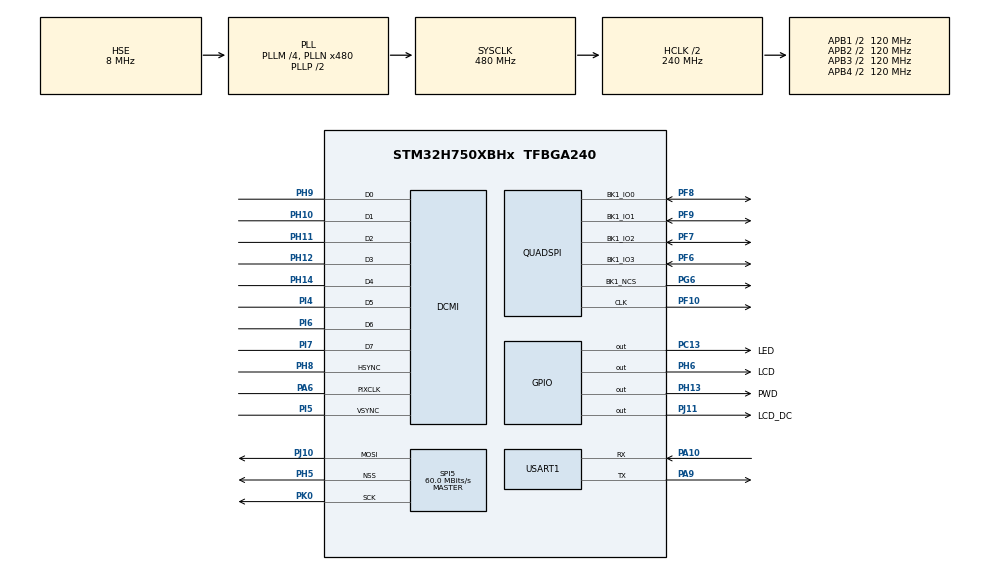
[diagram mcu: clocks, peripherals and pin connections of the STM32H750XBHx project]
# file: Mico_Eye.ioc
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CORTEX_M7.AccessPermission-Cortex_Memory_Protection_Unit_Region0_Settings=MPU_REGION_FULL_ACCESS
CORTEX_M7.AccessPermission-Cortex_Memory_Protection_Unit_Region1_Settings=MPU_REGION_FULL_ACCESS
CORTEX_M7.BaseAddress-Cortex_Memory_Protection_Unit_Region0_Settings=0x24000000
CORTEX_M7.BaseAddress-Cortex_Memory_Protection_Unit_Region1_Settings=0x90000000
CORTEX_M7.CPU_DCache=Enabled
CORTEX_M7.CPU_ICache=Enabled
CORTEX_M7.Enable-Cortex_Memory_Protection_Unit_Region0_Settings=MPU_REGION_ENABLE
CORTEX_M7.Enable-Cortex_Memory_Protection_Unit_Region1_Settings=MPU_REGION_ENABLE
CORTEX_M7.Enable-Cortex_Memory_Protection_Unit_Region2_Settings=__NULL
CORTEX_M7.IsBufferable-Cortex_Memory_Protection_Unit_Region0_Settings=MPU_ACCESS_BUFFERABLE
CORTEX_M7.IsCacheable-Cortex_Memory_Protection_Unit_Region0_Settings=MPU_ACCESS_CACHEABLE
CORTEX_M7.IsShareable-Cortex_Memory_Protection_Unit_Region0_Settings=MPU_ACCESS_SHAREABLE
CORTEX_M7.MPU_Control=MPU_PRIVILEGED_DEFAULT
CORTEX_M7.Size-Cortex_Memory_Protection_Unit_Region0_Settings=MPU_REGION_SIZE_512KB
CORTEX_M7.Size-Cortex_Memory_Protection_Unit_Region1_Settings=MPU_REGION_SIZE_8MB
DCMI.JPEGMode=DCMI_JPEG_DISABLE
DCMI.PCKPolarity=DCMI_PCKPOLARITY_RISING
Dma.DCMI.0.Direction=DMA_PERIPH_TO_MEMORY
Dma.DCMI.0.EventEnable=DISABLE
Dma.DCMI.0.FIFOMode=DMA_FIFOMODE_ENABLE
Dma.DCMI.0.FIFOThreshold=DMA_FIFO_THRESHOLD_FULL
Dma.DCMI.0.Instance=DMA2_Stream7
Dma.DCMI.0.MemBurst=DMA_MBURST_SINGLE
Dma.DCMI.0.MemDataAlignment=DMA_MDATAALIGN_WORD
Dma.DCMI.0.MemInc=DMA_MINC_DISABLE
Dma.DCMI.0.Mode=DMA_CIRCULAR
Dma.DCMI.0.PeriphBurst=DMA_PBURST_SINGLE
Dma.DCMI.0.PeriphDataAlignment=DMA_PDATAALIGN_WORD
Dma.DCMI.0.PeriphInc=DMA_PINC_DISABLE
Dma.DCMI.0.Polarity=HAL_DMAMUX_REQ_GEN_RISING
Dma.DCMI.0.Priority=DMA_PRIORITY_LOW
Dma.DCMI.0.RequestNumber=1
Dma.DCMI.0.SignalID=NONE
Dma.DCMI.0.SyncEnable=DISABLE
Dma.DCMI.0.SyncPolarity=HAL_DMAMUX_SYNC_NO_EVENT
Dma.DCMI.0.SyncRequestNumber=1
Dma.DCMI.0.SyncSignalID=NONE
Dma.Request0=DCMI
Mcu.Family=STM32H7
Mcu.Name=STM32H750XBHx
Mcu.Package=TFBGA240
NVIC.DCMI_IRQn=true\:0\:0\:true\:false\:true\:true\:true\:true
NVIC.DMA2_Stream7_IRQn=true\:0\:0\:false\:false\:true\:false\:true\:true
NVIC.FPU_IRQn=true\:0\:0\:true\:false\:true\:true\:false\:true
NVIC.PriorityGroup=NVIC_PRIORITYGROUP_4
PA10.Mode=Asynchronous
PA10.Signal=USART1_RX
PA13\ (JTMS/SWDIO).Mode=Serial_Wire
PA13\ (JTMS/SWDIO).Signal=DEBUG_JTMS-SWDIO
PA14\ (JTCK/SWCLK).Mode=Serial_Wire
PA14\ (JTCK/SWCLK).Signal=DEBUG_JTCK-SWCLK
PA6.GPIO_Speed=GPIO_SPEED_FREQ_VERY_HIGH
PA6.Mode=Slave_8_bits_External_Synchro
PA6.Signal=DCMI_PIXCLK
PA9.Mode=Asynchronous
PA9.Signal=USART1_TX
PC13.GPIO_Label=LED
PC13.GPIO_PuPd=GPIO_NOPULL
PC13.PinState=GPIO_PIN_RESET
PC13.Signal=GPIO_Output
PC14-OSC32_IN\ (OSC32_IN).Mode=LSE-External-Oscillator
PC14-OSC32_IN\ (OSC32_IN).Signal=RCC_OSC32_IN
PC15-OSC32_OUT\ (OSC32_OUT).Mode=LSE-External-Oscillator
PC15-OSC32_OUT\ (OSC32_OUT).Signal=RCC_OSC32_OUT
PF10.Mode=Single Bank 1
PF10.Signal=QUADSPI_CLK
PF6.Mode=Single Bank 1
PF6.Signal=QUADSPI_BK1_IO3
PF7.Mode=Single Bank 1
PF7.Signal=QUADSPI_BK1_IO2
PF8.Mode=Single Bank 1
PF8.Signal=QUADSPI_BK1_IO0
PF9.Mode=Single Bank 1
PF9.Signal=QUADSPI_BK1_IO1
PG6.Mode=Single Bank 1
PG6.Signal=QUADSPI_BK1_NCS
PH0-OSC_IN\ (PH0).Mode=HSE-External-Oscillator
PH0-OSC_IN\ (PH0).Signal=RCC_OSC_IN
PH1-OSC_OUT\ (PH1).Mode=HSE-External-Oscillator
PH1-OSC_OUT\ (PH1).Signal=RCC_OSC_OUT
PH10.GPIO_Speed=GPIO_SPEED_FREQ_VERY_HIGH
PH10.Mode=Slave_8_bits_External_Synchro
PH10.Signal=DCMI_D1
PH11.GPIO_Speed=GPIO_SPEED_FREQ_VERY_HIGH
PH11.Mode=Slave_8_bits_External_Synchro
PH11.Signal=DCMI_D2
PH12.GPIO_Speed=GPIO_SPEED_FREQ_VERY_HIGH
PH12.Mode=Slave_8_bits_External_Synchro
PH12.Signal=DCMI_D3
PH13.GPIO_Label=PWD
PH13.PinState=GPIO_PIN_SET
PH13.Signal=GPIO_Output
PH14.GPIO_Speed=GPIO_SPEED_FREQ_VERY_HIGH
PH14.Mode=Slave_8_bits_External_Synchro
PH14.Signal=DCMI_D4
PH5.Mode=NSS_Signal_Hard_Output
PH5.Signal=SPI5_NSS
PH6.GPIO_Label=LCD
PH6.PinState=GPIO_PIN_SET
PH6.Signal=GPIO_Output
PH8.GPIO_Speed=GPIO_SPEED_FREQ_VERY_HIGH
PH8.Mode=Slave_8_bits_External_Synchro
PH8.Signal=DCMI_HSYNC
PH9.GPIO_Speed=GPIO_SPEED_FREQ_VERY_HIGH
PH9.Mode=Slave_8_bits_External_Synchro
PH9.Signal=DCMI_D0
PI4.GPIO_Speed=GPIO_SPEED_FREQ_VERY_HIGH
PI4.Mode=Slave_8_bits_External_Synchro
PI4.Signal=DCMI_D5
PI5.GPIO_Speed=GPIO_SPEED_FREQ_VERY_HIGH
PI5.Mode=Slave_8_bits_External_Synchro
PI5.Signal=DCMI_VSYNC
PI6.GPIO_Speed=GPIO_SPEED_FREQ_VERY_HIGH
PI6.Mode=Slave_8_bits_External_Synchro
PI6.Signal=DCMI_D6
PI7.GPIO_Speed=GPIO_SPEED_FREQ_VERY_HIGH
PI7.Mode=Slave_8_bits_External_Synchro
PI7.Signal=DCMI_D7
PJ10.Mode=TX_Only_Simplex_Unidirect_Master
PJ10.Signal=SPI5_MOSI
PJ11.GPIO_Label=LCD_DC
PJ11.Signal=GPIO_Output
PK0.Mode=TX_Only_Simplex_Unidirect_Master
PK0.Signal=SPI5_SCK
ProjectManager.HeapSize=0x3000
ProjectManager.StackSize=0x2000
ProjectManager.TargetToolchain=STM32CubeIDE
QUADSPI.ClockMode=QSPI_CLOCK_MODE_3
QUADSPI.ClockPrescaler=1
QUADSPI.FifoThreshold=32
QUADSPI.FlashSize=22
QUADSPI.SampleShifting=QSPI_SAMPLE_SHIFTING_HALFCYCLE
RCC.ADCFreq_Value=16125000
RCC.APB1CLKDivider=RCC_HCLK_DIV4
RCC.APB1Freq_Value=120000000
RCC.APB2CLKDivider=RCC_HCLK_DIV2
RCC.APB2Freq_Value=120000000
RCC.APB3Freq_Value=120000000
RCC.APB4Freq_Value=120000000
RCC.CortexFreq_Value=480000000
RCC.D1PPRE=RCC_APB3_DIV2
RCC.D2PPRE1=RCC_APB1_DIV2
RCC.D2PPRE2=RCC_APB2_DIV2
RCC.D3PPRE=RCC_APB4_DIV2
RCC.DIVM1=4
RCC.DIVN1=480
RCC.DIVQ1=20
RCC.HCLKFreq_Value=240000000
RCC.HPRE=RCC_HCLK_DIV2
RCC.HSE_VALUE=8000000
RCC.PLLM=25
RCC.PLLMUL=RCC_PLL_MUL9
RCC.PLLN=432
RCC.PLLQ=9
RCC.PLLSourceVirtual=RCC_PLLSOURCE_HSE
RCC.PRESCALERUSB=RCC_USBCLKSOURCE_PLL_DIV1_5
RCC.PWR_Regulator_Voltage_Scale=PWR_REGULATOR_VOLTAGE_SCALE0
RCC.SYSCLKFreq_VALUE=480000000
RCC.SYSCLKSource=RCC_SYSCLKSOURCE_PLLCLK
RCC.SYSCLKSourceVirtual=RCC_SYSCLKSOURCE_PLLCLK
RCC.USBFreq_Value=48000000
SPI5.BaudRatePrescaler=SPI_BAUDRATEPRESCALER_2
SPI5.CalculateBaudRate=60.0 MBits/s
SPI5.DataSize=SPI_DATASIZE_8BIT
SPI5.Direction=SPI_DIRECTION_2LINES_TXONLY
SPI5.FifoThreshold=SPI_FIFO_THRESHOLD_02DATA
SPI5.Mode=SPI_MODE_MASTER
SPI5.VirtualNSS=VM_NSSHARD
SPI5.VirtualType=VM_MASTER
STMicroelectronics.X-CUBE-AI.7.2.0.ActivationBufferSizeList=267176
STMicroelectronics.X-CUBE-AI.7.2.0.ActivationBuffers=pool0
STMicroelectronics.X-CUBE-AI.7.2.0.ActivationNames=pool0
STMicroelectronics.X-CUBE-AI.7.2.0.ActivationSizes=AI_NETWORK_DATA_ACTIVATION_1_SIZE
STMicroelectronics.X-CUBE-AI.7.2.0.HeapSize=0x3000
STMicroelectronics.X-CUBE-AI.7.2.0.InternalRamActivationBufferMaxSize=AI_NETWORK_DATA_ACTIVATIONS_SIZE
STMicroelectronics.X-CUBE-AI.7.2.0.LatestDirectoryUsed-85ada85f3a31656e679e2d2ea5e9894090850ae9bb18ecbe06c34f5db485fe95=C\:\\Users\\10633\\Desktop\\Mywork\\Mico-eye\\2.model
STMicroelectronics.X-CUBE-AI.7.2.0.MaximumNumberOfInputLayer=1
STMicroelectronics.X-CUBE-AI.7.2.0.MaximumNumberOfOutputLayer=1
STMicroelectronics.X-CUBE-AI.7.2.0.MaximumSizeOfInputLayer=1
STMicroelectronics.X-CUBE-AI.7.2.0.MaximumSizeOfOutputLayer=1
STMicroelectronics.X-CUBE-AI.7.2.0.ModelActualCompression-85ada85f3a31656e679e2d2ea5e9894090850ae9bb18ecbe06c34f5db485fe95=0.0
STMicroelectronics.X-CUBE-AI.7.2.0.ModelCompression-85ada85f3a31656e679e2d2ea5e9894090850ae9bb18ecbe06c34f5db485fe95=None
STMicroelectronics.X-CUBE-AI.7.2.0.ModelFlashOccupation-85ada85f3a31656e679e2d2ea5e9894090850ae9bb18ecbe06c34f5db485fe95=554884
STMicroelectronics.X-CUBE-AI.7.2.0.ModelHashList=85ada85f3a31656e679e2d2ea5e9894090850ae9bb18ecbe06c34f5db485fe95
STMicroelectronics.X-CUBE-AI.7.2.0.ModelKind-85ada85f3a31656e679e2d2ea5e9894090850ae9bb18ecbe06c34f5db485fe95=TFLITE
STMicroelectronics.X-CUBE-AI.7.2.0.ModelMacc-85ada85f3a31656e679e2d2ea5e9894090850ae9bb18ecbe06c34f5db485fe95=19095976
STMicroelectronics.X-CUBE-AI.7.2.0.ModelName-85ada85f3a31656e679e2d2ea5e9894090850ae9bb18ecbe06c34f5db485fe95=network
STMicroelectronics.X-CUBE-AI.7.2.0.ModelNameList=network
STMicroelectronics.X-CUBE-AI.7.2.0.ModelRamOccupation-85ada85f3a31656e679e2d2ea5e9894090850ae9bb18ecbe06c34f5db485fe95=267176
STMicroelectronics.X-CUBE-AI.7.2.0.ModelStructureFile-85ada85f3a31656e679e2d2ea5e9894090850ae9bb18ecbe06c34f5db485fe95=C\:\\Users\\10633\\Desktop\\Mywork\\Mico-eye\\2.model\\mobv2_128x128x3_adam02_respin01.best_val.035.h5.uint8.tflite
STMicroelectronics.X-CUBE-AI.7.2.0.ModelType-85ada85f3a31656e679e2d2ea5e9894090850ae9bb18ecbe06c34f5db485fe95=STM32Cube.AI runtime
STMicroelectronics.X-CUBE-AI.7.2.0.ReadyForCodeGeneration=true
STMicroelectronics.X-CUBE-AI.7.2.0.StackSize=0x2000
STMicroelectronics.X-CUBE-AI.7.2.0.WorkingBufferStartAddrList=0xFFFFFFFF
STMicroelectronics.X-CUBE-AI.7.2.0.XAaCUBEAaAICcArtificialOoIntelligenceJjCore=true
STMicroelectronics.X-CUBE-AI.7.2.0.copyWeightToRam-85ada85f3a31656e679e2d2ea5e9894090850ae9bb18ecbe06c34f5db485fe95=false
STMicroelectronics.X-CUBE-AI.7.2.0.customLayerConfigEnabled-85ada85f3a31656e679e2d2ea5e9894090850ae9bb18ecbe06c34f5db485fe95=false
STMicroelectronics.X-CUBE-AI.7.2.0.extFlashDriver-85ada85f3a31656e679e2d2ea5e9894090850ae9bb18ecbe06c34f5db485fe95=Custom
STMicroelectronics.X-CUBE-AI.7.2.0.extFlashSize-85ada85f3a31656e679e2d2ea5e9894090850ae9bb18ecbe06c34f5db485fe95=8
STMicroelectronics.X-CUBE-AI.7.2.0.extFlashStartAddr-85ada85f3a31656e679e2d2ea5e9894090850ae9bb18ecbe06c34f5db485fe95=0x90000000
STMicroelectronics.X-CUBE-AI.7.2.0.memoryPool0driver-85ada85f3a31656e679e2d2ea5e9894090850ae9bb18ecbe06c34f5db485fe95=Custom
STMicroelectronics.X-CUBE-AI.7.2.0.memoryPool0id-85ada85f3a31656e679e2d2ea5e9894090850ae9bb18ecbe06c34f5db485fe95=0
STMicroelectronics.X-CUBE-AI.7.2.0.memoryPool0max-85ada85f3a31656e679e2d2ea5e9894090850ae9bb18ecbe06c34f5db485fe95=2147483647
STMicroelectronics.X-CUBE-AI.7.2.0.memoryPool0name-85ada85f3a31656e679e2d2ea5e9894090850ae9bb18ecbe06c34f5db485fe95=pool1
STMicroelectronics.X-CUBE-AI.7.2.0.memoryPool0size-85ada85f3a31656e679e2d2ea5e9894090850ae9bb18ecbe06c34f5db485fe95=8000
STMicroelectronics.X-CUBE-AI.7.2.0.memoryPool0start-85ada85f3a31656e679e2d2ea5e9894090850ae9bb18ecbe06c34f5db485fe95=0x90000000
STMicroelectronics.X-CUBE-AI.7.2.0.memoryPool0used-85ada85f3a31656e679e2d2ea5e9894090850ae9bb18ecbe06c34f5db485fe95=0.0
STMicroelectronics.X-CUBE-AI.7.2.0.splitWeigths-85ada85f3a31656e679e2d2ea5e9894090850ae9bb18ecbe06c34f5db485fe95=true
STMicroelectronics.X-CUBE-AI.7.2.0.tensorsInExternalFlash-85ada85f3a31656e679e2d2ea5e9894090850ae9bb18ecbe06c34f5db485fe95=conv2d_2_weights,conv2d_2_bias,conv2d_3_weights,conv2d_3_bias,conv2d_4_weights,conv2d_4_bias,conv2d_5_weights,conv2d_5_bias,conv2d_7_weights,conv2d_7_bias,conv2d_8_weights,conv2d_8_bias,conv2d_9_weights,conv2d_9_bias,conv2d_10_weights,conv2d_10_bias,conv2d_11_weights,conv2d_11_bias,conv2d_13_weights,conv2d_13_bias,conv2d_15_weights,conv2d_15_bias,conv2d_16_weights,conv2d_16_bias,conv2d_17_weights,conv2d_17_bias,conv2d_18_weights,conv2d_18_bias,conv2d_19_weights,conv2d_19_bias,conv2d_21_weights,conv2d_21_bias,conv2d_22_weights,conv2d_22_bias,conv2d_23_weights,conv2d_23_bias,conv2d_25_weights,conv2d_25_bias,conv2d_27_weights,conv2d_27_bias,conv2d_28_weights,conv2d_28_bias,conv2d_29_weights,conv2d_29_bias,conv2d_30_weights,conv2d_30_bias,conv2d_31_weights,conv2d_31_bias,conv2d_33_weights,conv2d_33_bias,conv2d_34_weights,conv2d_34_bias,conv2d_35_weights,conv2d_35_bias,conv2d_37_weights,conv2d_37_bias,conv2d_38_weights,conv2d_38_bias,conv2d_39_weights,conv2d_39_bias,conv2d_41_weights,conv2d_41_bias,conv2d_42_weights,conv2d_42_bias,conv2d_43_weights,conv2d_43_bias,conv2d_44_weights,conv2d_44_bias,conv2d_45_weights,conv2d_45_bias,conv2d_46_weights,conv2d_46_bias,conv2d_48_weights,conv2d_48_bias,conv2d_49_weights,conv2d_49_bias,conv2d_50_weights,conv2d_50_bias,conv2d_52_weights,conv2d_52_bias,conv2d_54_weights,conv2d_54_bias,conv2d_55_weights,conv2d_55_bias,conv2d_56_weights,conv2d_56_bias,conv2d_57_weights,conv2d_57_bias,conv2d_58_weights,conv2d_58_bias,conv2d_60_weights,conv2d_60_bias,conv2d_61_weights,conv2d_61_bias,conv2d_62_weights,conv2d_62_bias,conv2d_64_weights,conv2d_64_bias,conv2d_65_weights,conv2d_65_bias,conv2d_66_weights,conv2d_66_bias,conv2d_67_weights,conv2d_67_bias,dense_69_weights,dense_69_bias
STMicroelectronics.X-CUBE-AI.7.2.0.useExternalFlash-85ada85f3a31656e679e2d2ea5e9894090850ae9bb18ecbe06c34f5db485fe95=true
STMicroelectronics.X-CUBE-AI.7.2.0.useInputAllocation-85ada85f3a31656e679e2d2ea5e9894090850ae9bb18ecbe06c34f5db485fe95=true
STMicroelectronics.X-CUBE-AI.7.2.0.useOutputAllocation-85ada85f3a31656e679e2d2ea5e9894090850ae9bb18ecbe06c34f5db485fe95=true
USART1.VirtualMode-Asynchronous=VM_ASYNC
VP_CRC_VS_CRC.Mode=CRC_Activate
VP_STMicroelectronics.X-CUBE-AI_VS_ArtificialOoIntelligenceJjXAaCUBEAaAI_7.2.0.Mode=ArtificialOoIntelligenceJjXAaCUBEAaAI
board=custom

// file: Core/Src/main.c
/* USER CODE BEGIN Header */
/**
  ******************************************************************************
  * @file           : main.c
  * @brief          : Main program body
  ******************************************************************************
  * @attention
  *
  * Copyright (c) 2022 STMicroelectronics.
  * All rights reserved.
  *
  * This software is licensed under terms that can be found in the LICENSE file
  * in the root directory of this software component.
  * If no LICENSE file comes with this software, it is provided AS-IS.
  *
  ******************************************************************************
  */
/* USER CODE END Header */
#include "main.h"
#include "crc.h"
#include "dcmi.h"
#include "dma.h"
#include "quadspi.h"
#include "spi.h"
#include "usart.h"
#include "gpio.h"

/* USER CODE BEGIN Includes */
#include "lcd_spi_169.h"
#include <stdio.h>
#include "ai_datatypes_defines.h"
#include "ai_platform.h"
#include "network.h"
#include "network_data.h"
/* USER CODE END Includes */

/* USER CODE BEGIN PD */
#define Camera_Buffer    0x24000000
/* USER CODE END PD */

void SystemClock_Config(void);
static void MPU_Config(void);

int main(void)
{
  /* USER CODE BEGIN 1 */
	ai_i8 *im=0;
	ai_network_params ai_params = {
	    AI_NETWORK_DATA_WEIGHTS(ai_network_data_weights_get())
	  };
  /* USER CODE END 1 */

  /* MPU Configuration--------------------------------------------------------*/
  MPU_Config();

  /* Enable I-Cache---------------------------------------------------------*/
  SCB_EnableICache();

  /* Enable D-Cache---------------------------------------------------------*/
  SCB_EnableDCache();

  /* MCU Configuration--------------------------------------------------------*/

  /* Reset of all peripherals, Initializes the Flash interface and the Systick. */
  HAL_Init();

  /* Configure the system clock */
  SystemClock_Config();

  /* Initialize all configured peripherals */
  MX_GPIO_Init();
  MX_SPI5_Init();
  MX_USART1_UART_Init();
  MX_CRC_Init();
  MX_DMA_Init();
  MX_DCMI_Init();
  MX_QUADSPI_Init();
  /* USER CODE BEGIN 2 */
    __HAL_DCMI_ENABLE_IT(&hdcmi, DCMI_IT_FRAME);
    SPI_LCD_Init();
    DCMI_OV5640_Init();
    OV5640_AF_Download_Firmware();
    OV5640_AF_Trigger_Constant();
    OV5640_DMA_Transmit_Continuous(Camera_Buffer, Display_BufferSize);  // ����DMA��������
  /* USER CODE END 2 */

  /* Infinite loop */
  /* USER CODE BEGIN WHILE */
    while (1) {
        if (OV5640_FrameState == 1)
        {
            OV5640_FrameState = 0;
            LCD_CopyBuffer(0, 0, Display_Width, Display_Height, (uint16_t *) Camera_Buffer);    // ��ͼ�����ݸ��Ƶ���Ļ
            //HAL_GPIO_TogglePin(LED_GPIO_Port,LED_Pin);
        }
    /* USER CODE END WHILE */

    }
}

void SystemClock_Config(void)
{
  RCC_OscInitTypeDef RCC_OscInitStruct = {0};
  RCC_ClkInitTypeDef RCC_ClkInitStruct = {0};

  /** Supply configuration update enable
  */
  HAL_PWREx_ConfigSupply(PWR_LDO_SUPPLY);

  /** Configure the main internal regulator output voltage
  */
  __HAL_PWR_VOLTAGESCALING_CONFIG(PWR_REGULATOR_VOLTAGE_SCALE1);

  while(!__HAL_PWR_GET_FLAG(PWR_FLAG_VOSRDY)) {}

  __HAL_RCC_SYSCFG_CLK_ENABLE();
  __HAL_PWR_VOLTAGESCALING_CONFIG(PWR_REGULATOR_VOLTAGE_SCALE0);

  while(!__HAL_PWR_GET_FLAG(PWR_FLAG_VOSRDY)) {}

  /** Initializes the RCC Oscillators according to the specified parameters
  * in the RCC_OscInitTypeDef structure.
  */
  RCC_OscInitStruct.OscillatorType = RCC_OSCILLATORTYPE_HSE;
  RCC_OscInitStruct.HSEState = RCC_HSE_ON;
  RCC_OscInitStruct.PLL.PLLState = RCC_PLL_ON;
  RCC_OscInitStruct.PLL.PLLSource = RCC_PLLSOURCE_HSE;
  RCC_OscInitStruct.PLL.PLLM = 4;
  RCC_OscInitStruct.PLL.PLLN = 480;
  RCC_OscInitStruct.PLL.PLLP = 2;
  RCC_OscInitStruct.PLL.PLLQ = 20;
  RCC_OscInitStruct.PLL.PLLR = 2;
  RCC_OscInitStruct.PLL.PLLRGE = RCC_PLL1VCIRANGE_1;
  RCC_OscInitStruct.PLL.PLLVCOSEL = RCC_PLL1VCOWIDE;
  RCC_OscInitStruct.PLL.PLLFRACN = 0;
  if (HAL_RCC_OscConfig(&RCC_OscInitStruct) != HAL_OK)
  {
    Error_Handler();
  }

  /** Initializes the CPU, AHB and APB buses clocks
  */
  RCC_ClkInitStruct.ClockType = RCC_CLOCKTYPE_HCLK|RCC_CLOCKTYPE_SYSCLK
                              |RCC_CLOCKTYPE_PCLK1|RCC_CLOCKTYPE_PCLK2
                              |RCC_CLOCKTYPE_D3PCLK1|RCC_CLOCKTYPE_D1PCLK1;
  RCC_ClkInitStruct.SYSCLKSource = RCC_SYSCLKSOURCE_PLLCLK;
  RCC_ClkInitStruct.SYSCLKDivider = RCC_SYSCLK_DIV1;
  RCC_ClkInitStruct.AHBCLKDivider = RCC_HCLK_DIV2;
  RCC_ClkInitStruct.APB3CLKDivider = RCC_APB3_DIV2;
  RCC_ClkInitStruct.APB1CLKDivider = RCC_APB1_DIV2;
  RCC_ClkInitStruct.APB2CLKDivider = RCC_APB2_DIV2;
  RCC_ClkInitStruct.APB4CLKDivider = RCC_APB4_DIV2;

  if (HAL_RCC_ClockConfig(&RCC_ClkInitStruct, FLASH_LATENCY_4) != HAL_OK)
  {
    Error_Handler();
  }
}

/* MPU Configuration */

void MPU_Config(void)
{
  MPU_Region_InitTypeDef MPU_InitStruct = {0};

  /* Disables the MPU */
  HAL_MPU_Disable();

  /** Initializes and configures the Region and the memory to be protected
  */
  MPU_InitStruct.Enable = MPU_REGION_ENABLE;
  MPU_InitStruct.Number = MPU_REGION_NUMBER0;
  MPU_InitStruct.BaseAddress = 0x24000000;
  MPU_InitStruct.Size = MPU_REGION_SIZE_512KB;
  MPU_InitStruct.SubRegionDisable = 0x0;
  MPU_InitStruct.TypeExtField = MPU_TEX_LEVEL0;
  MPU_InitStruct.AccessPermission = MPU_REGION_FULL_ACCESS;
  MPU_InitStruct.DisableExec = MPU_INSTRUCTION_ACCESS_ENABLE;
  MPU_InitStruct.IsShareable = MPU_ACCESS_SHAREABLE;
  MPU_InitStruct.IsCacheable = MPU_ACCESS_CACHEABLE;
  MPU_InitStruct.IsBufferable = MPU_ACCESS_BUFFERABLE;

  HAL_MPU_ConfigRegion(&MPU_InitStruct);

  /** Initializes and configures the Region and the memory to be protected
  */
  MPU_InitStruct.Number = MPU_REGION_NUMBER1;
  MPU_InitStruct.BaseAddress = 0x90000000;
  MPU_InitStruct.Size = MPU_REGION_SIZE_8MB;
  MPU_InitStruct.IsShareable = MPU_ACCESS_NOT_SHAREABLE;
  MPU_InitStruct.IsCacheable = MPU_ACCESS_NOT_CACHEABLE;
  MPU_InitStruct.IsBufferable = MPU_ACCESS_NOT_BUFFERABLE;

  HAL_MPU_ConfigRegion(&MPU_InitStruct);
  /* Enables the MPU */
  HAL_MPU_Enable(MPU_PRIVILEGED_DEFAULT);

}

void Error_Handler(void)
{
    __disable_irq();
    while (1) {
    }
}
